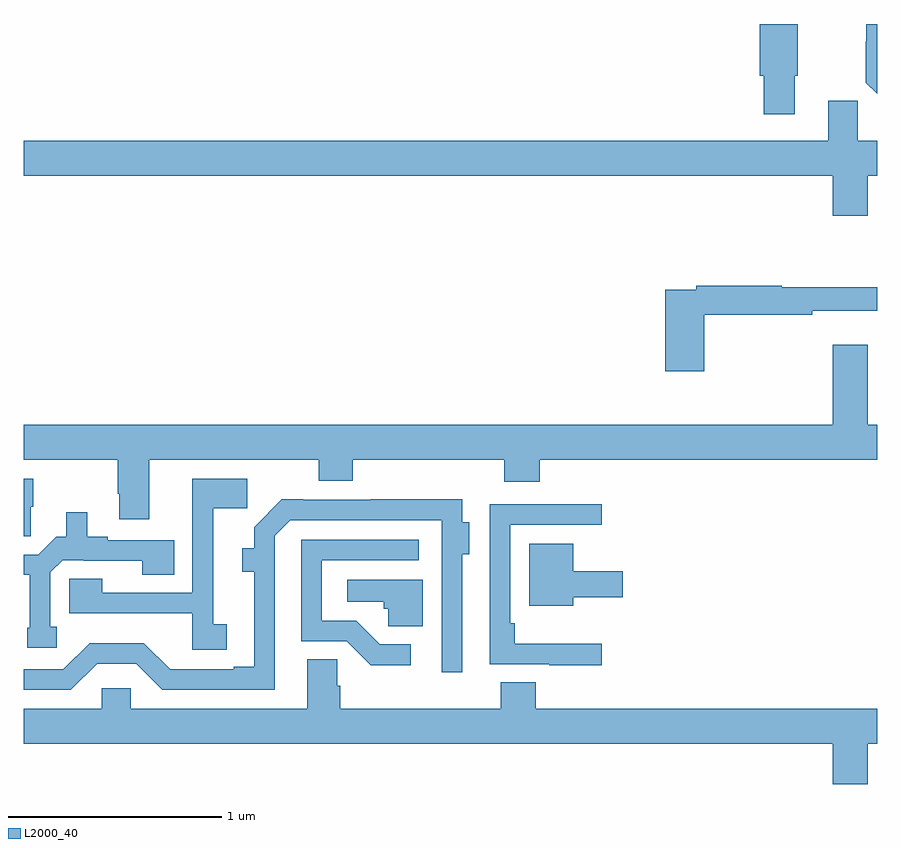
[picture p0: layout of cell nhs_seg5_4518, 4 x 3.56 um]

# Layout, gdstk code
import gdstk
lib = gdstk.Library(unit=1e-6, precision=1e-09)
def P(c, l, *ps):  # polygons
    for p in ps: c.add(gdstk.Polygon(p, *l))
L2000_40 = (2000, 40)

nhs_seg5_4518 = lib.new_cell('nhs_seg5_4518')
P(nhs_seg5_4518, L2000_40, [(380.614,862.557),(380.628,862.557),(380.628,862.799),(380.45,862.799),(380.45,862.557),(380.468,862.557),(380.468,862.377),(380.614,862.377)],
  [(381,862.799),(380.949,862.799),(380.949,862.715),(380.946,862.715),(380.946,862.524),(381,862.471)],
  [(380.956,862.088),(381,862.088),(381,862.252),(380.909,862.252),(380.909,862.44),(380.771,862.44),(380.771,862.252),(377,862.252),(377,862.088),(380.792,862.088),(380.792,861.9),(380.956,861.9)],
  [(380.189,861.436),(380.696,861.436),(380.696,861.455),(381,861.455),(381,861.565),(380.552,861.565),(380.552,861.572),(380.152,861.572),(380.152,861.552),(380.006,861.552),(380.006,861.171),(380.189,861.171)],
  [(377.587,860.756),(378.382,860.756),(378.382,860.657),(378.542,860.657),(378.542,860.756),(379.253,860.756),(379.253,860.654),(379.418,860.654),(379.418,860.756),(381,860.756),(381,860.92),(380.956,860.92),(380.956,861.295),(380.792,861.295),(380.792,860.92),(377,860.92),(377,860.756),(377.44,860.756),(377.44,860.596),(377.447,860.596),(377.447,860.478),(377.587,860.478)],
  [(377.95,859.986),(377.887,859.986),(377.887,860.529),(378.048,860.529),(378.048,860.668),(377.79,860.668),(377.79,860.133),(377.367,860.133),(377.367,860.198),(377.213,860.198),(377.213,860.037),(377.323,860.037),(377.323,860.036),(377.79,860.036),(377.79,859.866),(377.95,859.866)],
  [(377.033,860.535),(377.043,860.535),(377.043,860.667),(377,860.667),(377,860.398),(377.033,860.398)],
  [(377.343,859.8),(377.526,859.8),(377.649,859.677),(378.177,859.677),(378.177,860.4),(378.249,860.472),(378.96,860.472),(378.96,859.761),(379.056,859.761),(379.056,860.312),(379.087,860.312),(379.087,860.464),(379.056,860.464),(379.056,860.57),(378.625,860.57),(378.625,860.568),(378.31,860.568),(378.31,860.57),(378.209,860.57),(378.08,860.44),(378.08,860.342),(378.023,860.342),(378.023,860.232),(378.08,860.232),(378.08,859.786),(377.984,859.786),(377.984,859.773),(377.686,859.773),(377.562,859.897),(377.308,859.897),(377.184,859.773),(377,859.773),(377,859.677),(377.22,859.677)],
  [(379.708,859.894),(379.301,859.894),(379.301,859.99),(379.281,859.99),(379.281,860.451),(379.708,860.451),(379.708,860.547),(379.185,860.547),(379.185,859.797),(379.463,859.797),(379.463,859.793),(379.708,859.793)],
  [(377.154,859.974),(377.124,859.974),(377.124,860.229),(377.181,860.286),(377.281,860.286),(377.281,860.283),(377.554,860.283),(377.554,860.218),(377.705,860.218),(377.705,860.379),(377.392,860.379),(377.392,860.394),(377.296,860.394),(377.296,860.509),(377.198,860.509),(377.198,860.394),(377.151,860.394),(377.067,860.31),(377,860.31),(377,860.217),(377.028,860.217),(377.028,859.968),(377.015,859.968),(377.015,859.875),(377.154,859.875)],
  [(378.814,859.89),(378.669,859.89),(378.558,860.001),(378.396,860.001),(378.396,860.286),(378.85,860.286),(378.85,860.382),(378.3,860.382),(378.3,859.905),(378.513,859.905),(378.626,859.793),(378.814,859.793)],
  [(379.576,860.111),(379.807,860.111),(379.807,860.233),(379.576,860.233),(379.576,860.362),(379.37,860.362),(379.37,860.072),(379.576,860.072)],
  [(378.871,860.194),(378.516,860.194),(378.516,860.09),(378.686,860.09),(378.686,860.058),(378.708,860.058),(378.708,859.976),(378.871,859.976)],
  [(380.956,859.424),(381,859.424),(381,859.588),(379.4,859.588),(379.4,859.712),(379.235,859.712),(379.235,859.588),(378.482,859.588),(378.482,859.697),(378.468,859.697),(378.468,859.82),(378.329,859.82),(378.329,859.588),(377.502,859.588),(377.502,859.686),(377.364,859.686),(377.364,859.588),(377,859.588),(377,859.424),(380.792,859.424),(380.792,859.236),(380.956,859.236)])

lib.write_gds('nhs_seg5_4518.gds')
